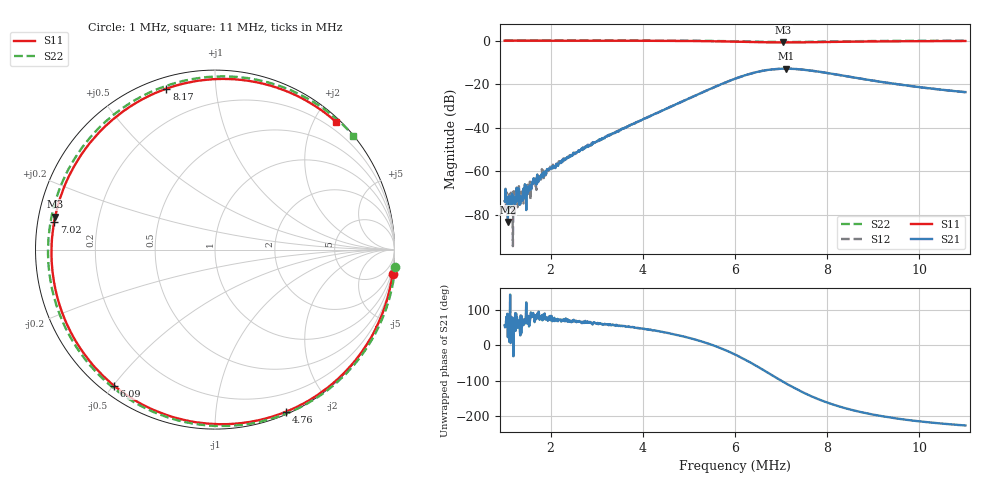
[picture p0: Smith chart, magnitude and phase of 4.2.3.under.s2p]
# MHz S DB R 50
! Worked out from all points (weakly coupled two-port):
!   1001 points, 1 MHz to 11 MHz, reference 50 ohm
!   highest |S21| = -12.87 dB at 7.11 MHz (marker M1); lowest = -83.3 dB at 1.07 MHz (marker M2)
!   lowest |S11| = -0.8 dB at 7.05 MHz (marker M3), VSWR 21.00, Z = 2.41 + j5.11 ohm
!   |S11| at or under -10 dB: nowhere
!   |S22| runs from -0.6 to 0.1 dB; largest |S21 - S12| = 0.005
!   S11 on the Smith chart (normalised r, x): 1 MHz: 0, -14; 4.76 MHz: 0.02, -1.53; 6.09 MHz: 0.04, -0.50; 7.02 MHz: 0.05, +0.08; 8.17 MHz: 0.05, +0.74; 11 MHz: 0.06, +2.33
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1  -0.01 -8.0  -73.74 57.1  -76.07 101.6  0.08 -5.6
1.07  -0.01 -8.6  -83.25 23.4  -73.52 87.5  0.08 -6.0
1.23  -0.01 -10.1  -72.25 91.5  -71.26 12.6  0.08 -7.1
1.31  -0.01 -10.8  -68.96 70.6  -66.84 42.6  0.08 -7.7
1.37  -0.01 -11.4  -73.50 83.4  -69.34 78.0  0.08 -8.1
1.66  -0.01 -14.2  -65.36 71.4  -63.48 84.1  0.08 -10.2
1.96  -0.01 -17.3  -58.83 81.9  -58.80 76.9  0.08 -12.5
2.67  -0.02 -25.6  -49.55 67.1  -50.06 67.3  0.08 -18.7
4.34  -0.07 -54.6  -32.90 40.4  -32.94 41.3  0.05 -41.7
4.76  -0.12 -66.2  -28.89 28.9  -28.87 30.2  0.02 -51.5
5.4  -0.25 -89.9  -22.75 6.1  -22.76 7.3  -0.06 -72.9
6  -0.46 -121.1  -17.51 -25.6  -17.51 -24.3  -0.25 -104.8
6.09  -0.50 -126.6  -16.82 -31.4  -16.83 -30.1  -0.29 -110.9
6.62  -0.74 -161.9  -13.76 -69.8  -13.77 -68.6  -0.54 -153.9
7.02  -0.83 170.3  -12.89 -100.8  -12.90 -99.6  -0.64 169.9
7.05  -0.83 168.3  -12.88 -103.1  -12.89 -102.0  -0.64 167.2
7.11  -0.82 164.3  -12.87 -107.6  -12.88 -106.4  -0.64 162.0
7.67  -0.72 130.5  -13.79 -144.4  -13.80 -143.2  -0.50 120.1
8.17  -0.57 106.8  -15.43 -168.9  -15.45 -167.6  -0.35 94.0
8.72  -0.43 87.4  -17.41 171.9  -17.41 173.2  -0.22 74.8
9.34  -0.31 71.5  -19.46 156.8  -19.46 158.1  -0.12 60.4
11  -0.17 46.5  -23.64 133.8  -23.64 134.9  -0.02 39.5
